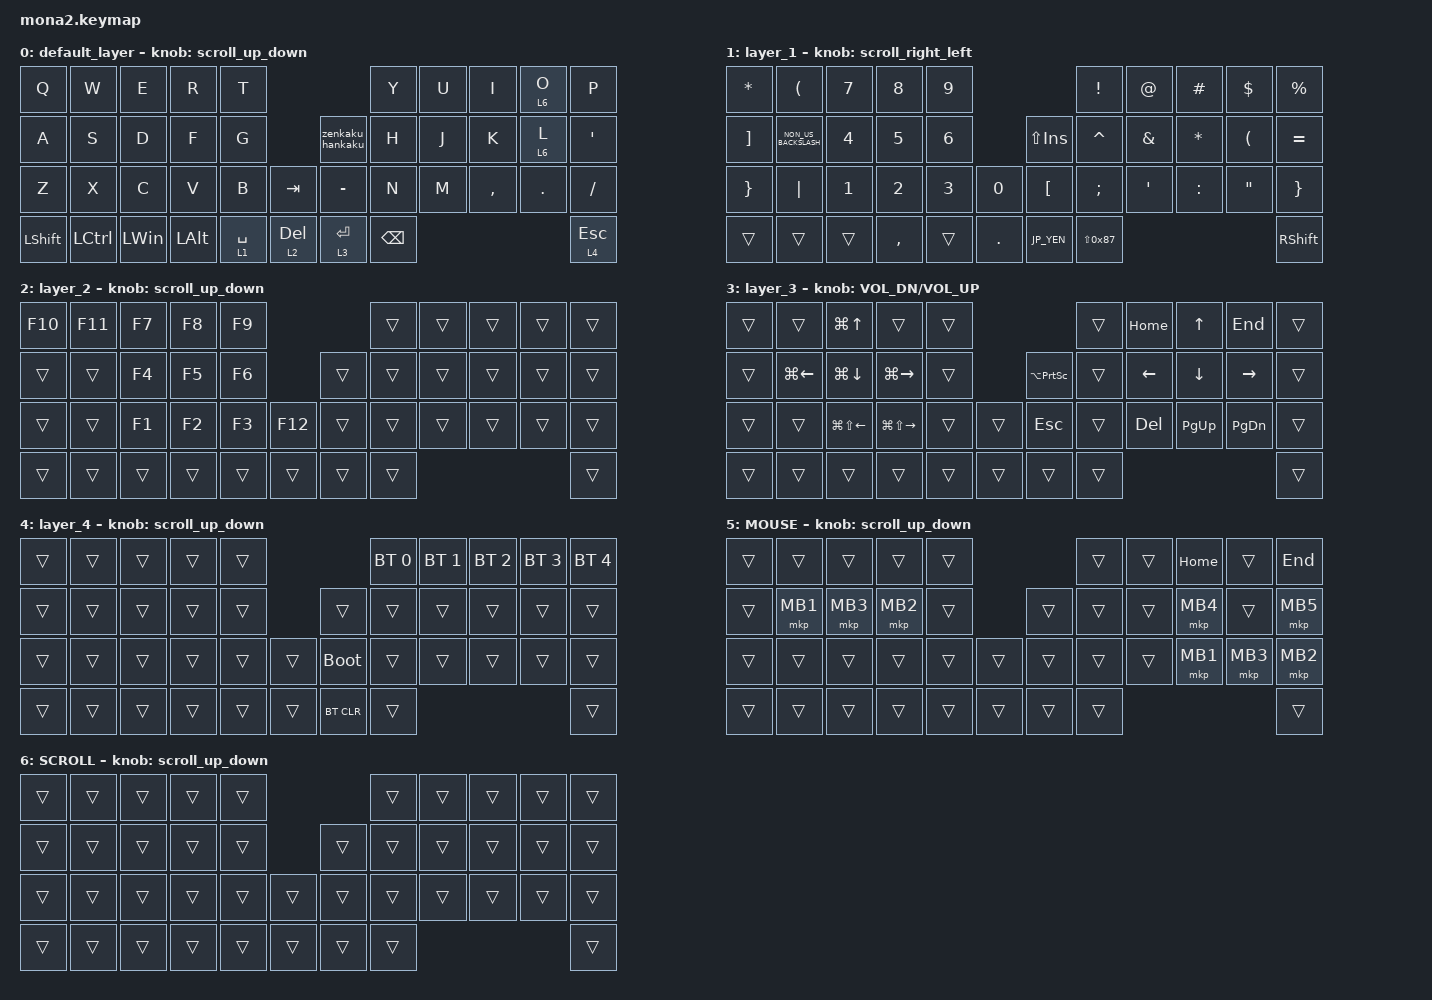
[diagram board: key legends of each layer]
#include <input/processors.dtsi>
#include <dt-bindings/zmk/input_transform.h>
#include <zephyr/dt-bindings/input/input-event-codes.h>
#include <behaviors.dtsi>
#include <dt-bindings/zmk/bt.h>
#include <dt-bindings/zmk/keys.h>
#include <dt-bindings/zmk/pointing.h>

#define ZMK_POINTING_DEFAULT_SCRL_VAL 100
#define MOUSE 5
#define SCROLL 6
#define JP_YEN          0x89              // ¥
#define JP_PIPE         LS(0x89)          // |
#define JP_UNDERSCORE   LS(0x87)          // _

&mt {
    flavor = "balanced";
    quick-tap-ms = <0>;
};

&lt {
    quick-tap-ms = <300>;
    flavor = "balanced";
};

/ {
    combos {
        compatible = "zmk,combos";

        layer4_ESC {
            bindings = <&lt 4 ESC>;
            key-positions = <18 20 32 30 7 9 31>;
        };
    };

    macros {
        to_layer_0: to_layer_0 {
            compatible = "zmk,behavior-macro-one-param";
            #binding-cells = <1>;
            bindings = <&to 0 &macro_param_1to1 &kp MACRO_PLACEHOLDER>;
            label = "TO_LAYER_0";
        };

        zenkaku_hankaku: zenkaku_hankaku {
            compatible = "zmk,behavior-macro";
            #binding-cells = <0>;
            bindings =
                <&macro_press>,
                <&kp LEFT_ALT>,
                <&macro_tap>,
                <&kp GRAVE>,
                <&macro_release>,
                <&kp LEFT_ALT>;

            label = "ZENKAKU_HANKAKU";
        };
    };

    behaviors {
        lt_to_layer_0: lt_to_layer_0 {
            compatible = "zmk,behavior-hold-tap";
            label = "LAYER_TAP_TO_0";
            bindings = <&mo>, <&to_layer_0>;

            #binding-cells = <2>;
            tapping-term-ms = <200>;
        };

        scroll_up_down: mouse_wheel_up_down {
            compatible = "zmk,behavior-sensor-rotate";
            #sensor-binding-cells = <0>;
            bindings = <&msc SCRL_DOWN>, <&msc SCRL_UP>;

            tap-ms = <20>;
        };

        scroll_right_left: mouse_wheel_right_left {
            compatible = "zmk,behavior-sensor-rotate";
            #sensor-binding-cells = <0>;
            bindings = <&msc SCRL_LEFT>, <&msc SCRL_RIGHT>;

            tap-ms = <20>;
        };
    };

    keymap {
        compatible = "zmk,keymap";

        default_layer {
            bindings = <
&kp Q           &kp W      &kp E         &kp R         &kp T                                          &kp Y          &kp U  &kp I      &lt 6 O  &kp P
&kp A           &kp S      &kp D         &kp F         &kp G                        &zenkaku_hankaku  &kp H          &kp J  &kp K      &lt 6 L  &kp SQT
&kp Z           &kp X      &kp C         &kp V         &kp B        &kp TAB         &kp MINUS         &kp N          &kp M  &kp COMMA  &kp DOT  &kp SLASH
&kp LEFT_SHIFT  &kp LCTRL  &kp LEFT_WIN  &kp LEFT_ALT  &lt 1 SPACE  &lt 2 DELETE    &lt 3 ENTER       &kp BACKSPACE                             &lt 4 ESC
            >;

            sensor-bindings = <&scroll_up_down>;
        };

        layer_1 {
            bindings = <
&kp ASTERISK       &kp LEFT_PARENTHESIS  &kp NUMBER_7  &kp NUMBER_8  &kp NUMBER_9                                    &kp EXCLAMATION    &kp AT_SIGN    &kp HASH      &kp DOLLAR            &kp PERCENT
&kp RIGHT_BRACKET  &kp NON_US_BACKSLASH  &kp NUMBER_4  &kp NUMBER_5  &kp NUMBER_6                  &kp LS(INS)       &kp CARET          &kp AMPERSAND  &kp ASTERISK  &kp LEFT_PARENTHESIS  &kp EQUAL
&kp RIGHT_BRACE    &kp PIPE              &kp NUMBER_1  &kp NUMBER_2  &kp NUMBER_3  &kp NUMBER_0    &kp LEFT_BRACKET  &kp SEMICOLON      &kp SQT        &kp COLON     &kp DOUBLE_QUOTES     &kp RIGHT_BRACE
&trans             &trans                &trans        &kp COMMA     &trans        &kp DOT         &kp JP_YEN        &kp JP_UNDERSCORE                                                     &kp RIGHT_SHIFT
            >;

            sensor-bindings = <&scroll_right_left>;
        };

        layer_2 {
            bindings = <
&kp F10  &kp F11  &kp F7  &kp F8  &kp F9                     &trans  &trans  &trans  &trans  &trans
&trans   &trans   &kp F4  &kp F5  &kp F6             &trans  &trans  &trans  &trans  &trans  &trans
&trans   &trans   &kp F1  &kp F2  &kp F3  &kp F12    &trans  &trans  &trans  &trans  &trans  &trans
&trans   &trans   &trans  &trans  &trans  &trans     &trans  &trans                          &trans
            >;

            sensor-bindings = <&scroll_up_down>;
        };

        layer_3 {
            bindings = <
&trans  &trans              &kp LG(UP_ARROW)        &trans                   &trans                                 &trans  &kp HOME        &kp UP_ARROW    &kp END          &trans
&trans  &kp LG(LEFT_ARROW)  &kp LG(DOWN_ARROW)      &kp LG(RIGHT)            &trans            &kp LA(PRINTSCREEN)  &trans  &kp LEFT_ARROW  &kp DOWN_ARROW  &kp RIGHT_ARROW  &trans
&trans  &trans              &kp LG(LS(LEFT_ARROW))  &kp LG(LS(RIGHT_ARROW))  &trans  &trans    &kp ESC              &trans  &kp DELETE      &kp PAGE_UP     &kp PAGE_DOWN    &trans
&trans  &trans              &trans                  &trans                   &trans  &trans    &trans               &trans                                                   &trans
            >;

            sensor-bindings = <&inc_dec_kp C_VOL_DN C_VOL_UP>;
        };

        layer_4 {
            bindings = <
&trans  &trans  &trans  &trans  &trans                         &bt BT_SEL 0  &bt BT_SEL 1  &bt BT_SEL 2  &bt BT_SEL 3  &bt BT_SEL 4
&trans  &trans  &trans  &trans  &trans            &trans       &trans        &trans        &trans        &trans        &trans
&trans  &trans  &trans  &trans  &trans  &trans    &bootloader  &trans        &trans        &trans        &trans        &trans
&trans  &trans  &trans  &trans  &trans  &trans    &bt BT_CLR   &trans                                                  &trans
            >;

            sensor-bindings = <&scroll_up_down>;
        };

        MOUSE {
            bindings = <
&trans  &trans    &trans    &trans    &trans                    &trans  &trans  &kp HOME  &trans    &kp END
&trans  &mkp MB1  &mkp MB3  &mkp MB2  &trans            &trans  &trans  &trans  &mkp MB4  &trans    &mkp MB5
&trans  &trans    &trans    &trans    &trans  &trans    &trans  &trans  &trans  &mkp MB1  &mkp MB3  &mkp MB2
&trans  &trans    &trans    &trans    &trans  &trans    &trans  &trans                              &trans
            >;

            sensor-bindings = <&scroll_up_down>;
        };

        SCROLL {
            bindings = <
&trans  &trans  &trans  &trans  &trans                    &trans  &trans  &trans  &trans  &trans
&trans  &trans  &trans  &trans  &trans            &trans  &trans  &trans  &trans  &trans  &trans
&trans  &trans  &trans  &trans  &trans  &trans    &trans  &trans  &trans  &trans  &trans  &trans
&trans  &trans  &trans  &trans  &trans  &trans    &trans  &trans                          &trans
            >;

            sensor-bindings = <&scroll_up_down>;
        };
    };
};
